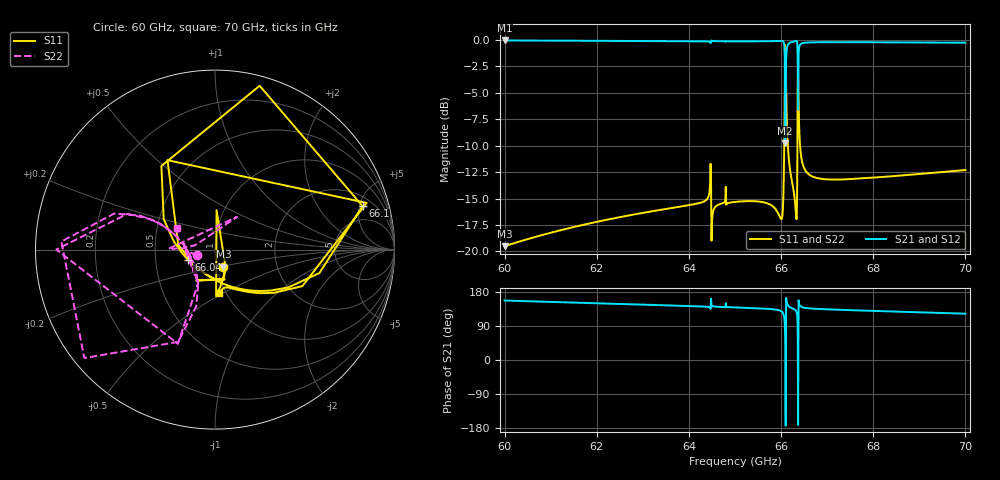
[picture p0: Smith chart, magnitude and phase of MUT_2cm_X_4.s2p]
! TOUCHSTONE file generated by CST MICROWAVE STUDIO
! Date and time: Tue Feb 27 21:04:27 2024
! Project name: material_angular.cst
! Parameters = {exis2=4; exis=5; X=5; Z=5; Y=2}
! Header version: 2018
! Port assignment regex: !\s*Touchstone port\s*([0-9]+)\s*=\s*(CST MWS port|CST DS port)\s*([0-9]+|Zmin|Zmax)\s*\(\"(.*)\"\)(\s*mode\s*([0-9]+))?.*
! Touchstone port assignment:
! Touchstone port 1 = CST MWS port 1 ("")
! Touchstone port 2 = CST MWS port 2 ("")
# GHz S MA R 376.7
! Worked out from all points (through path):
!   1001 points, 60 GHz to 70 GHz, reference 376.7 ohm
!   highest |S21| = -0.05 dB at 60 GHz (marker M1); lowest = -9.8 dB at 66.09 GHz (marker M2)
!   lowest |S11| = -19.5 dB at 60 GHz (marker M3), VSWR 1.24, Z = 406 - j78 ohm
!   |S11| at or under -10 dB: start of sweep to 66.07 GHz; 66.14738 GHz to 66.35423 GHz (206.9 MHz wide, 0.312 % of centre); 66.41 GHz to end of sweep
!   |S22| runs from -19.5 to -0.5 dB; largest |S21 - S12| = 0.0011
!   S11 on the Smith chart (normalised r, x): 60 GHz: 1.08, -0.21; 66.04 GHz: 0.74, -0.09; 66.1 GHz: 2.93, +5.36; 70 GHz: 0.92, -0.47
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60  0.1059 -63.8  0.9943 156.9  0.9944 156.9  0.1059 -162.3
61.67  0.133 -66.4  0.9913 150.8  0.9911 150.8  0.1329 -172.0
63.34  0.1567 -71.1  0.9876 144.8  0.9876 144.8  0.1566 -179.2
64.43  0.1835 -77.6  0.9831 140.0  0.9829 140.0  0.1835 177.5
64.54  0.1582 -72.7  0.9874 141.2  0.9874 141.2  0.1582 175.1
65  0.1714 -77.5  0.985 138.8  0.9852 138.8  0.1714 175.2
65.93  0.1524 -101.1  0.9885 132.1  0.9881 132.1  0.1523 -174.7
66  0.1423 -122.5  0.9899 129.0  0.9896 129.0  0.1423 -159.5
66.04  0.1596 -158.4  0.9873 124.1  0.9869 124.1  0.1596 -133.3
66.09  0.946 74.7  0.3239 57.2  0.3239 57.2  0.946 -140.3
66.1  0.857 16.4  0.5149 -173.3  0.5156 -173.3  0.8569 177.0
66.14  0.339 -42.9  0.9407 146.0  0.9408 146.0  0.339 154.9
66.16  0.2867 -51.7  0.958 142.4  0.958 142.4  0.2867 156.5
66.29  0.1815 -82.6  0.9835 133.8  0.9833 133.8  0.1815 170.3
66.31  0.1642 -92.6  0.9865 132.0  0.9863 132.0  0.1642 176.6
66.32  0.1534 -101.3  0.9882 130.7  0.988 130.7  0.1534 -177.4
66.41  0.3201 -48.5  0.9475 143.4  0.9474 143.4  0.3201 155.3
66.43  0.2869 -54.3  0.9581 141.1  0.958 141.1  0.2869 156.5
66.48  0.2541 -61.3  0.9673 138.6  0.9672 138.6  0.2541 158.5
66.67  0.2266 -69.6  0.9741 135.7  0.974 135.7  0.2266 161.1
68.34  0.2261 -80.4  0.9744 128.3  0.9743 128.3  0.2264 157.1
70  0.2425 -85.3  0.97 122.2  0.9703 122.2  0.2426 149.8
